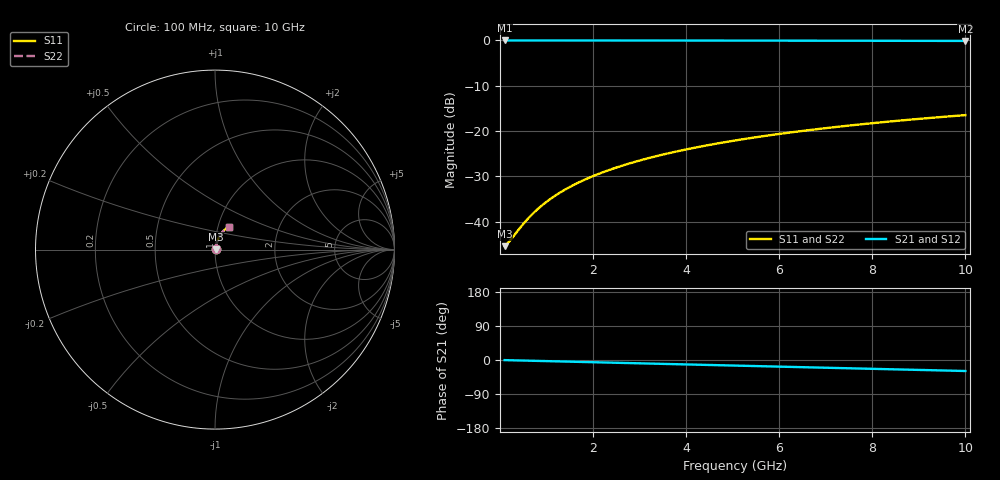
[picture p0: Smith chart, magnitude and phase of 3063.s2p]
# Hz S RI R 50.00
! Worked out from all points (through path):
!   100 points, 100 MHz to 10 GHz, reference 50 ohm
!   highest |S21| = -0.04 dB at 100 MHz (marker M1); lowest = -0.1 dB at 10 GHz (marker M2)
!   group delay of S21, straight-line fit = 8.07 ps
!   lowest |S11| = -45.4 dB at 100 MHz (marker M3), VSWR 1.01, Z = 50.5 + j0.157 ohm
!   |S11| at or under -10 dB: start of sweep to end of sweep
!   |S22| runs from -45.4 to -16.5 dB; largest |S21 - S12| = 0
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1e8  0.00517 0.00155  0.9948 -0.00507  0.9948 -0.00507  0.00517 0.00155
2e8  0.00522 0.0031  0.9947 -0.0101  0.9947 -0.0101  0.00522 0.0031
5e8  0.00545 0.00774  0.9944 -0.0254  0.9944 -0.0254  0.00545 0.00774
6e8  0.00555 0.00929  0.9942 -0.0304  0.9942 -0.0304  0.00555 0.00929
7e8  0.00567 0.0108  0.994 -0.0355  0.994 -0.0355  0.00567 0.0108
9e8  0.00594 0.0139  0.9935 -0.0456  0.9935 -0.0456  0.00594 0.0139
1.1e9  0.00628 0.017  0.9929 -0.0558  0.9929 -0.0558  0.00628 0.017
1.3e9  0.00667 0.0201  0.9922 -0.0659  0.9922 -0.0659  0.00667 0.0201
1.5e9  0.00713 0.0231  0.9914 -0.076  0.9914 -0.076  0.00713 0.0231
1.8e9  0.00793 0.0277  0.99 -0.0911  0.99 -0.0911  0.00793 0.0277
2.1e9  0.00887 0.0322  0.9883 -0.1062  0.9883 -0.1062  0.00887 0.0322
2.5e9  0.0103 0.0382  0.9857 -0.1263  0.9857 -0.1263  0.0103 0.0382
2.9e9  0.012 0.0442  0.9826 -0.1463  0.9826 -0.1463  0.012 0.0442
3.4e9  0.0145 0.0515  0.9782 -0.1712  0.9782 -0.1712  0.0145 0.0515
3.8e9  0.0167 0.0573  0.9741 -0.191  0.9741 -0.191  0.0167 0.0573
4.2e9  0.0192 0.0629  0.9696 -0.2107  0.9696 -0.2107  0.0192 0.0629
5.1e9  0.0256 0.0752  0.958 -0.2546  0.958 -0.2546  0.0256 0.0752
5.9e9  0.0322 0.0856  0.9459 -0.2929  0.9459 -0.2929  0.0322 0.0856
6.7e9  0.0396 0.0954  0.9321 -0.3306  0.9321 -0.3306  0.0396 0.0954
7.5e9  0.0477 0.1045  0.9168 -0.3675  0.9168 -0.3675  0.0477 0.1045
8.4e9  0.0577 0.1139  0.8977 -0.408  0.8977 -0.408  0.0577 0.1139
1e10  0.0773 0.1283  0.8593 -0.4772  0.8593 -0.4772  0.0773 0.1283
